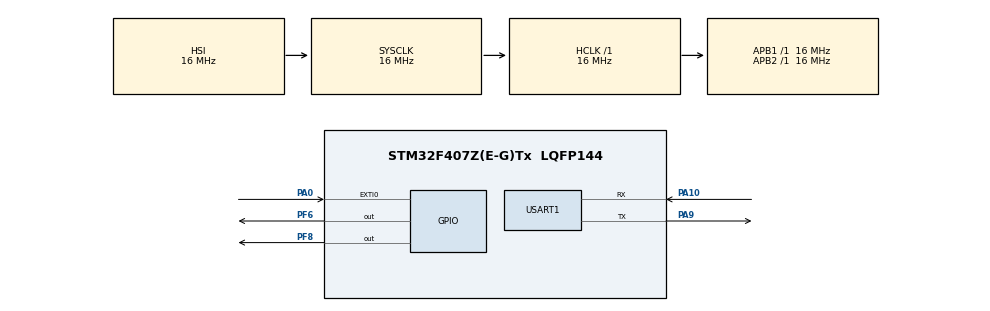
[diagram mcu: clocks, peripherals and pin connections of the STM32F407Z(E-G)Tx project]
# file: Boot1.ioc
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Mcu.Family=STM32F4
Mcu.Name=STM32F407Z(E-G)Tx
Mcu.Package=LQFP144
NVIC.EXTI0_IRQn=true\:0\:0\:true\:false\:true\:true\:true\:true
NVIC.PriorityGroup=NVIC_PRIORITYGROUP_4
NVIC.USART1_IRQn=true\:0\:0\:true\:false\:true\:true\:true\:true
PA0-WKUP.GPIO_ModeDefaultEXTI=GPIO_MODE_IT_RISING
PA0-WKUP.Signal=GPXTI0
PA10.Mode=Asynchronous
PA10.Signal=USART1_RX
PA13.Mode=Serial_Wire
PA13.Signal=SYS_JTMS-SWDIO
PA14.Mode=Serial_Wire
PA14.Signal=SYS_JTCK-SWCLK
PA9.Mode=Asynchronous
PA9.Signal=USART1_TX
PF6.GPIO_ModeDefaultOutputPP=GPIO_MODE_OUTPUT_PP
PF6.GPIO_PuPd=GPIO_NOPULL
PF6.GPIO_Speed=GPIO_SPEED_FREQ_LOW
PF6.PinState=GPIO_PIN_SET
PF6.Signal=GPIO_Output
PF8.PinState=GPIO_PIN_SET
PF8.Signal=GPIO_Output
ProjectManager.HeapSize=0x200
ProjectManager.StackSize=0x400
ProjectManager.TargetToolchain=MDK-ARM V5.32
RCC.AHBFreq_Value=16000000
RCC.APB1Freq_Value=16000000
RCC.APB2Freq_Value=16000000
RCC.CortexFreq_Value=16000000
RCC.HSE_VALUE=25000000
RCC.HSI_VALUE=16000000
RCC.LSE_VALUE=32768
RCC.SYSCLKFreq_VALUE=16000000
RCC.VCOOutputFreq_Value=192000000
USART1.VirtualMode=VM_ASYNC
board=custom

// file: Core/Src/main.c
/* USER CODE BEGIN Header */
/**
  ******************************************************************************
  * @file           : main.c
  * @brief          : Main program body
  ******************************************************************************
  * @attention
  *
  * Copyright (c) 2026 STMicroelectronics.
  * All rights reserved.
  *
  * This software is licensed under terms that can be found in the LICENSE file
  * in the root directory of this software component.
  * If no LICENSE file comes with this software, it is provided AS-IS.
  *
  ******************************************************************************
  */
/* USER CODE END Header */
#include "main.h"

/* USER CODE BEGIN Includes */
#include <string.h>
/* USER CODE END Includes */

UART_HandleTypeDef huart1;

/* USER CODE BEGIN PV */
static char DataTx_info[]="\r\ninfo is ready\r\n";
static char DataTx_jump[]="\r\njump to app\r\n";
static char DataTx_upgrade[]="\r\n enter upgrade mode\r\n";
static char BOOT_Rx[]="\r\nBOOT_Rx:\r\n";
static char DataTx_BootMode[]="BOOT_MODE";
static char DataTx_Wait[]="\r\nWait for cmd\r\n";
static char DataTx_UKnow[]="\r\nUnknow cmd\r\n";

/* USER CODE END PV */

void SystemClock_Config(void);
static void MX_GPIO_Init(void);
static void MX_USART1_UART_Init(void);

/* USER CODE BEGIN 0 */
static volatile  uint8_t key_pressed=0;
#define APP_ADDRESS  0x08008000U
typedef void (*pFunction)(void);

void HAL_GPIO_EXTI_Callback(uint16_t GPIO_Pin)
{
    if (GPIO_Pin == GPIO_PIN_0)
    {
        key_pressed = 1;
    }
}

typedef struct
{
//    uint32_t magic;
//    uint32_t upgrade_req;
//    uint32_t trial_run;
//    uint32_t confirm_ok;
//    uint32_t active_app;
//    uint32_t fw_size;
//    uint32_t fw_crc;
 	  uint32_t boot_mode;
//	  uint32_t cmd;
	   uint32_t upgrade_mode;
} boot_flag;

	boot_flag BootFlag={0};
void JumpToApplication(void)
{
    uint32_t app_sp    = *(__IO uint32_t*)APP_ADDRESS;
    uint32_t app_reset = *(__IO uint32_t*)(APP_ADDRESS + 4);

    if ((app_sp & 0x2FFE0000U) == 0x20000000U)
    {
        __disable_irq();

        SysTick->CTRL = 0;
        SysTick->LOAD = 0;
        SysTick->VAL  = 0;

        for (uint32_t i = 0; i < 8; i++)
        {
            NVIC->ICER[i] = 0xFFFFFFFF;
            NVIC->ICPR[i] = 0xFFFFFFFF;
        }

        SCB->VTOR = APP_ADDRESS;
        __set_MSP(app_sp);

       // __enable_irq();   // 关键：把全局中断打开，再跳

        pFunction app_entry = (pFunction)app_reset;
        app_entry();
    }
}

   //接收命令缓存
		volatile uint8_t RxCount=0;
		 uint8_t RxTemp=0;
		volatile uint8_t Rx_Flag_Cmd=0;
		char DataRx[32]={0};

		//
		 uint8_t Rx_Data_upgrade[16] = {0};
    volatile uint8_t upgrade_block_ready = 0;
    volatile uint16_t upgrade_block_len = 16;
void HAL_UART_RxCpltCallback(UART_HandleTypeDef *huart)
{
	if(huart->Instance == USART1)
	{

		if(BootFlag.upgrade_mode==1)
	{
//		HAL_UART_Receive_IT(&huart1,Rx_Data_upgrade,16);
		upgrade_block_ready=1;//16字节已经收满
	}
		//将接收到的数据全部保存到DataRx中，然后置位Rx_Flag_Cmd=1以及Flag
		//当while检测到Rx_Flag_Cmd=1时，将DataRx数据输出到串口
   else if (Rx_Flag_Cmd == 0)   // 只有上一条还没处理完时，才继续往 DataRx 里装
     {
         if (RxTemp == '\r' || RxTemp == '\n')
         {
             if (RxCount > 0)
             {
                 DataRx[RxCount] = '\0';
                 Rx_Flag_Cmd = 1;
             }
         }

		 else if (RxCount < sizeof(DataRx) - 1)
          {
              DataRx[RxCount] = RxTemp;
              RxCount++;

						HAL_UART_Receive_IT(&huart1,&RxTemp,1);
          }

	}
 return;
}
		#if 0
		//设置接收缓冲区为单缓冲区，串口收到数据后就发送出去
		//数据不会被保存进DataRx中
			HAL_UART_Transmit(&huart1,&RxTemp,1,100);
		  HAL_UART_Receive_IT(&huart1,&RxTemp,1);
		#endif
}

void Upgrade_Mode(void)
{
	if(upgrade_block_ready==1)
	{
		upgrade_block_ready=0;

		HAL_UART_Transmit(&huart1,(uint8_t *)BOOT_Rx,strlen(BOOT_Rx),100);
		HAL_UART_Transmit(&huart1,Rx_Data_upgrade,16,100);

		memset(Rx_Data_upgrade,0,sizeof(Rx_Data_upgrade));

		HAL_UART_Receive_IT(&huart1,Rx_Data_upgrade,16);
	}
}

void Boot_ProcessCmd(char *pDataRx)
{
			if(strcmp(pDataRx, "info") == 0)
			{
				HAL_UART_Transmit(&huart1,(uint8_t*)DataTx_info,strlen(DataTx_info),100);

			}
			else if(strcmp(pDataRx, "jump") == 0)
			{
			HAL_UART_Transmit(&huart1,(uint8_t*)DataTx_jump,strlen(DataTx_jump),100);
				JumpToApplication();
			}
			else if(strcmp(pDataRx, "upgrade") == 0)
			{
			HAL_UART_Transmit(&huart1,(uint8_t*)DataTx_upgrade,strlen(DataTx_upgrade),100);

						Rx_Flag_Cmd=0;
			memset(DataRx,0,sizeof(DataRx));
			RxCount=0;
			BootFlag.upgrade_mode=1;

				HAL_UART_AbortReceive(&huart1);
				HAL_UART_Receive_IT(&huart1,Rx_Data_upgrade,16);

			}
			else
			{
			HAL_UART_Transmit(&huart1,(uint8_t*)DataTx_UKnow,strlen(DataTx_UKnow),100);

			}

}
void Boot_Wait(void)
	{
  HAL_UART_Receive_IT(&huart1,&RxTemp,1);

		HAL_UART_Transmit(&huart1,(uint8_t*)DataTx_BootMode,strlen(DataTx_BootMode),100);
		HAL_UART_Transmit(&huart1,(uint8_t*)DataTx_Wait,strlen(DataTx_Wait),100);
	 while(1)
	 {
	 HAL_GPIO_WritePin(GPIOF,GPIO_PIN_8,GPIO_PIN_RESET);
		HAL_Delay(50);
			 HAL_GPIO_WritePin(GPIOF,GPIO_PIN_8,GPIO_PIN_SET);
		HAL_Delay(50);

		 if(BootFlag.upgrade_mode==1)
			{
				Upgrade_Mode();
			}

		else if(Rx_Flag_Cmd==1)
		{
		Rx_Flag_Cmd=0;

		//	HAL_UART_Transmit(&huart1,(uint8_t*)DataRx,strlen(DataRx),100);
			Boot_ProcessCmd(DataRx);

			memset(DataRx,0,sizeof(DataRx));
			RxCount=0;

			if(BootFlag.upgrade_mode==0)
			{

			HAL_UART_Transmit(&huart1,(uint8_t*)DataTx_Wait,strlen(DataTx_Wait),100);

			}

		}

		}

}

/* USER CODE END 0 */

int main(void)
{

  /* USER CODE BEGIN 1 */
	uint32_t CurrentTime;
	uint32_t StarttTime;

  /* USER CODE END 1 */

  /* MCU Configuration--------------------------------------------------------*/

  /* Reset of all peripherals, Initializes the Flash interface and the Systick. */
  HAL_Init();

  /* Configure the system clock */
  SystemClock_Config();

  /* Initialize all configured peripherals */
  MX_GPIO_Init();
  MX_USART1_UART_Init();
  /* USER CODE BEGIN 2 */

    StarttTime=HAL_GetTick();
		CurrentTime=HAL_GetTick();
		while((CurrentTime-StarttTime)<3000)
		{
			HAL_GPIO_WritePin(GPIOF,GPIO_PIN_6,GPIO_PIN_RESET);
			HAL_Delay(100);
			HAL_GPIO_WritePin(GPIOF,GPIO_PIN_6,GPIO_PIN_SET);
			HAL_Delay(100);

			if(key_pressed==1)
			{
			BootFlag.boot_mode=1;
			break;
			}

			CurrentTime=HAL_GetTick();
		}

		if(BootFlag.boot_mode==1)
		{
			Boot_Wait();
		}
		else
			JumpToApplication();

  /* USER CODE END 2 */

  /* Infinite loop */
			while (1)
			{

			}
}

void SystemClock_Config(void)
{
  RCC_OscInitTypeDef RCC_OscInitStruct = {0};
  RCC_ClkInitTypeDef RCC_ClkInitStruct = {0};

  /** Configure the main internal regulator output voltage
  */
  __HAL_RCC_PWR_CLK_ENABLE();
  __HAL_PWR_VOLTAGESCALING_CONFIG(PWR_REGULATOR_VOLTAGE_SCALE1);

  /** Initializes the RCC Oscillators according to the specified parameters
  * in the RCC_OscInitTypeDef structure.
  */
  RCC_OscInitStruct.OscillatorType = RCC_OSCILLATORTYPE_HSI;
  RCC_OscInitStruct.HSIState = RCC_HSI_ON;
  RCC_OscInitStruct.HSICalibrationValue = RCC_HSICALIBRATION_DEFAULT;
  RCC_OscInitStruct.PLL.PLLState = RCC_PLL_NONE;
  if (HAL_RCC_OscConfig(&RCC_OscInitStruct) != HAL_OK)
  {
    Error_Handler();
  }

  /** Initializes the CPU, AHB and APB buses clocks
  */
  RCC_ClkInitStruct.ClockType = RCC_CLOCKTYPE_HCLK|RCC_CLOCKTYPE_SYSCLK
                              |RCC_CLOCKTYPE_PCLK1|RCC_CLOCKTYPE_PCLK2;
  RCC_ClkInitStruct.SYSCLKSource = RCC_SYSCLKSOURCE_HSI;
  RCC_ClkInitStruct.AHBCLKDivider = RCC_SYSCLK_DIV1;
  RCC_ClkInitStruct.APB1CLKDivider = RCC_HCLK_DIV1;
  RCC_ClkInitStruct.APB2CLKDivider = RCC_HCLK_DIV1;

  if (HAL_RCC_ClockConfig(&RCC_ClkInitStruct, FLASH_LATENCY_0) != HAL_OK)
  {
    Error_Handler();
  }
}

static void MX_USART1_UART_Init(void)
{

  huart1.Instance = USART1;
  huart1.Init.BaudRate = 115200;
  huart1.Init.WordLength = UART_WORDLENGTH_8B;
  huart1.Init.StopBits = UART_STOPBITS_1;
  huart1.Init.Parity = UART_PARITY_NONE;
  huart1.Init.Mode = UART_MODE_TX_RX;
  huart1.Init.HwFlowCtl = UART_HWCONTROL_NONE;
  huart1.Init.OverSampling = UART_OVERSAMPLING_16;
  if (HAL_UART_Init(&huart1) != HAL_OK)
  {
    Error_Handler();
  }

}

static void MX_GPIO_Init(void)
{
  GPIO_InitTypeDef GPIO_InitStruct = {0};

  /* GPIO Ports Clock Enable */
  __HAL_RCC_GPIOF_CLK_ENABLE();
  __HAL_RCC_GPIOA_CLK_ENABLE();

  /*Configure GPIO pin Output Level */
  HAL_GPIO_WritePin(GPIOF, GPIO_PIN_6|GPIO_PIN_8, GPIO_PIN_SET);

  /*Configure GPIO pins : PF6 PF8 */
  GPIO_InitStruct.Pin = GPIO_PIN_6|GPIO_PIN_8;
  GPIO_InitStruct.Mode = GPIO_MODE_OUTPUT_PP;
  GPIO_InitStruct.Pull = GPIO_NOPULL;
  GPIO_InitStruct.Speed = GPIO_SPEED_FREQ_LOW;
  HAL_GPIO_Init(GPIOF, &GPIO_InitStruct);

  /*Configure GPIO pin : PA0 */
  GPIO_InitStruct.Pin = GPIO_PIN_0;
  GPIO_InitStruct.Mode = GPIO_MODE_IT_RISING;
  GPIO_InitStruct.Pull = GPIO_NOPULL;
  HAL_GPIO_Init(GPIOA, &GPIO_InitStruct);

  /* EXTI interrupt init*/
  HAL_NVIC_SetPriority(EXTI0_IRQn, 0, 0);
  HAL_NVIC_EnableIRQ(EXTI0_IRQn);

}

void Error_Handler(void)
{
  __disable_irq();
  while (1)
  {
  }
}
